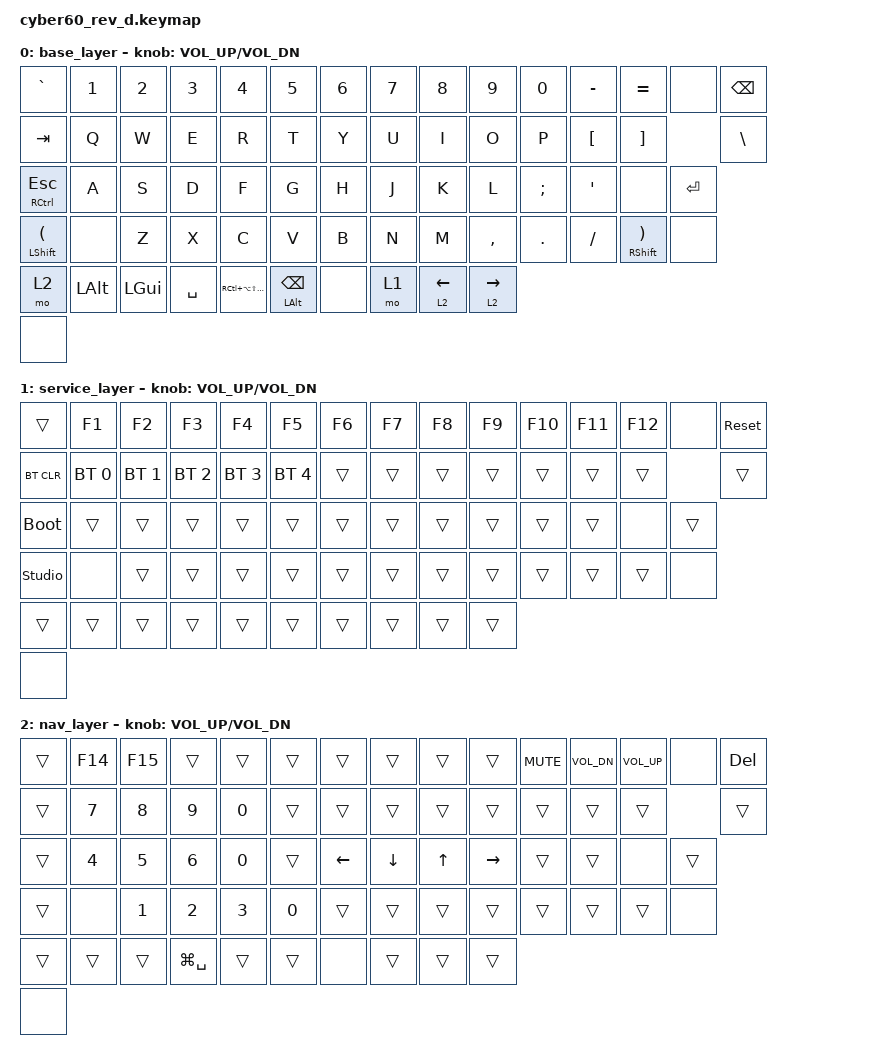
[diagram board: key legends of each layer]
#include <behaviors.dtsi>
#include <dt-bindings/zmk/bt.h>
#include <dt-bindings/zmk/keys.h>
#include <dt-bindings/zmk/rgb.h>

#define HYPER RC(LA(LS(LGUI)))

#define ___ &trans
#define XXX &none

#define QUICK_TAP_MS 175
#define TAPPING_TERM_MS 280
#define MACRO_TIMEOUT 30
#define MACRO_IDLE 150

&lt {
    flavor = "hold-preferred";
    quick-tap-ms = <QUICK_TAP_MS>;
};

&mt {
    flavor = "hold-preferred";
    quick-tap-ms = <QUICK_TAP_MS>;
};

/ {
    macros {
        macro_git_diff: macro_git_diff {
            compatible = "zmk,behavior-macro";
            #binding-cells = <0>;
            bindings = <&kp G &kp I &kp T &kp SPACE &kp D &kp I &kp F &kp F>;
            label = "MACRO_GIT_DIFF";
        };

        macro_git_status: macro_git_status {
            compatible = "zmk,behavior-macro";
            #binding-cells = <0>;
            bindings = <&kp G &kp I &kp T &kp SPACE &kp S &kp T &kp A &kp T &kp U &kp S>;
            label = "MACRO_GIT_STATUS";
        };

        macro_git_add: macro_git_add {
            compatible = "zmk,behavior-macro";
            #binding-cells = <0>;
            bindings = <&kp G &kp I &kp T &kp SPACE &kp A &kp D &kp D &kp SPACE &kp MINUS &kp LS(A)>;
            label = "MACRO_GIT_ADD";
        };

        macro_git_diff_cached: macro_git_diff_cached {
            compatible = "zmk,behavior-macro";
            #binding-cells = <0>;
            bindings = <&kp G &kp I &kp T &kp SPACE &kp D &kp I &kp F &kp F &kp SPACE &kp MINUS &kp MINUS &kp C &kp A &kp C &kp H &kp E &kp D>;
            label = "MACRO_GIT_DIFF_CACHED";
        };
    };

    combos {
        compatible = "zmk,combos";

        combo_gd {
            key-positions = <34 32>;
            bindings = <&macro_git_diff>;
            require-prior-idle-ms = <MACRO_IDLE>;
            timeout-ms = <MACRO_TIMEOUT>;
        };

        combo_gs {
            key-positions = <34 31>;
            bindings = <&macro_git_status>;
            require-prior-idle-ms = <MACRO_IDLE>;
            timeout-ms = <MACRO_TIMEOUT>;
        };

        combo_ga {
            key-positions = <34 30>;
            bindings = <&macro_git_add>;
            require-prior-idle-ms = <MACRO_IDLE>;
            timeout-ms = <MACRO_TIMEOUT>;
        };

        combo_gda {
            key-positions = <34 32 30>;
            bindings = <&macro_git_diff_cached>;
            require-prior-idle-ms = <MACRO_IDLE>;
            timeout-ms = <MACRO_TIMEOUT>;
        };

        combo_kj_enter {
            key-positions = <36 37>;
            bindings = <&kp ENTER>;
            require-prior-idle-ms = <MACRO_IDLE>;
            timeout-ms = <MACRO_TIMEOUT>;
        };
    };

    keymap {
        compatible = "zmk,keymap";

        base_layer {
            bindings = <
&kp GRAVE           &kp N1  &kp N2  &kp N3  &kp N4  &kp N5  &kp N6  &kp N7  &kp N8     &kp N9   &kp N0    &kp MINUS       &kp EQUAL XXX  &kp BSPC
&kp TAB             &kp Q   &kp W   &kp E   &kp R   &kp T   &kp Y   &kp U   &kp I      &kp O    &kp P     &kp LBKT        &kp RBKT       &kp BSLH
&mt RCTRL ESC       &kp A   &kp S   &kp D   &kp F   &kp G   &kp H   &kp J   &kp K      &kp L    &kp SEMI  &kp SQT XXX     &kp RET
&mt LSHFT LPAR XXX  &kp Z   &kp X   &kp C   &kp V   &kp B   &kp N   &kp M   &kp COMMA  &kp DOT  &kp FSLH  &mt RSHFT RPAR XXX
&mo 2  &kp LALT  &kp LGUI  &kp SPACE  &kp HYPER  &mt LALT BSPC  XXX  &mo 1  &lt 2 LEFT  &lt 2 RIGHT
XXX
            >;

            sensor-bindings = <&inc_dec_kp C_VOL_UP C_VOL_DN>;
        };

        service_layer {
            bindings = <
___     &kp F1        &kp F2        &kp F3        &kp F4        &kp F5        &kp F6  &kp F7  &kp F8  &kp F9  &kp F10  &kp F11  &kp F12 XXX  &sys_reset
&bt BT_CLR     &bt BT_SEL 0  &bt BT_SEL 1  &bt BT_SEL 2  &bt BT_SEL 3  &bt BT_SEL 4  ___     ___     ___     ___     ___      ___      ___          ___
&bootloader    ___           ___           ___           ___           ___           ___     ___     ___     ___     ___      ___ XXX  ___
&studio_unlock XXX      ___           ___           ___           ___           ___           ___     ___     ___     ___     ___      ___ XXX
___            ___           ___           ___           ___           ___           ___     ___     ___     ___
XXX
            >;

            sensor-bindings = <&inc_dec_kp C_VOL_UP C_VOL_DN>;
        };

        nav_layer {
            bindings = <
___      &kp F14  &kp F15  ___     ___     ___  ___       ___       ___     ___        &kp C_MUTE  &kp C_VOL_DN  &kp C_VOL_UP XXX  &kp DEL
___      &kp N7   &kp N8   &kp N9  &kp N0  ___  ___       ___       ___     ___        ___         ___           ___               ___
___      &kp N4   &kp N5   &kp N6  &kp N0  ___  &kp LEFT  &kp DOWN  &kp UP  &kp RIGHT  ___         ___ XXX       ___
___ XXX  &kp N1   &kp N2   &kp N3  &kp N0  ___  ___       ___       ___     ___        ___         ___ XXX
___  ___  ___  &kp LG(SPACE)  ___  ___ XXX  ___  ___  ___
XXX
            >;

            sensor-bindings = <&inc_dec_kp C_VOL_UP C_VOL_DN>;
        };
    };
};
